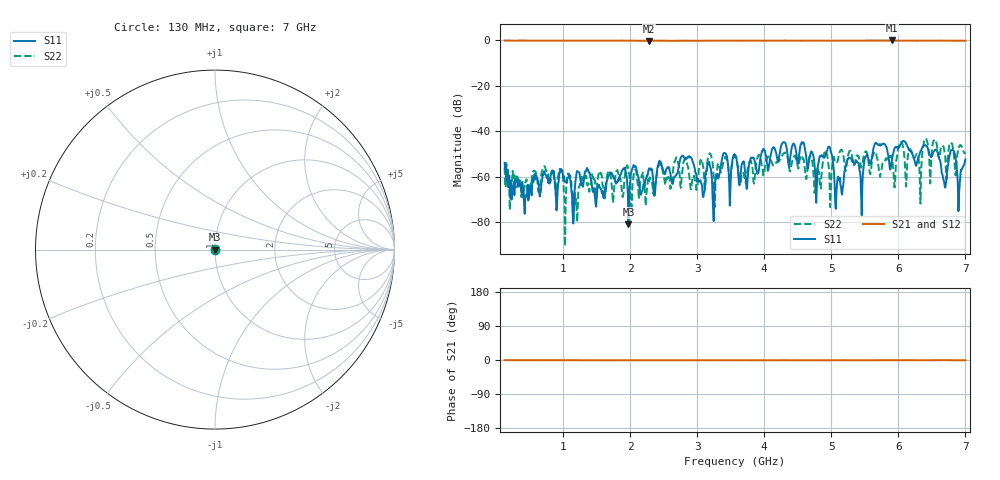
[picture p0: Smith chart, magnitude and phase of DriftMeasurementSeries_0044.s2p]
# Hz S RI R 50.000000
! Metas.Vna.Tools, 2.8.8664.20301
! Metas.Vna.Data, 2.8.8664.20285
! Created: UTC 2024.02.11 10:08:21
! FREQ  re:S1,1  im:S1,1  re:S2,1  im:S2,1  re:S1,2  im:S1,2  re:S2,2  im:S2,2
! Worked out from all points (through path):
!   801 points, 130 MHz to 7 GHz, reference 50 ohm
!   highest |S21| = -0.04 dB at 5.909 GHz (marker M1); lowest = -0.2 dB at 2.285 GHz (marker M2)
!   lowest |S11| = -80.9 dB at 1.976 GHz (marker M3), VSWR 1.00, Z = 50 - j0.00665 ohm
!   |S11| at or under -10 dB: start of sweep to end of sweep
!   |S22| runs from -90.5 to -43.1 dB; largest |S21 - S12| = 0.025
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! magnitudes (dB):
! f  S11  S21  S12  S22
! 130 MHz  -53.8  -0.1  0.0  -56.0
! 456.3 MHz  -67.6  -0.1  0.0  -61.0
! 963 MHz  -57.0  -0.1  0.0  -56.5
! 1.186 GHz  -61.9  -0.1  0.0  -71.7
! 1.281 GHz  -63.2  -0.1  0.0  -59.2
! 1.976 GHz  -80.9  -0.1  0.0  -57.5
! 2.285 GHz  -56.2  -0.2  0.0  -62.5
! 2.423 GHz  -54.3  -0.1  0.0  -55.5
! 2.895 GHz  -51.2  -0.2  0.0  -63.1
! 3.084 GHz  -68.4  -0.2  0.0  -54.6
! 3.187 GHz  -54.6  -0.1  0.0  -49.6
! 3.256 GHz  -67.0  -0.1  0.0  -67.0
! 3.565 GHz  -50.3  -0.1  0.0  -50.7
! 4.716 GHz  -49.3  -0.1  0.0  -53.1
! 4.973 GHz  -46.8  -0.2  0.0  -60.2
! 5.085 GHz  -63.2  -0.1  0.0  -53.5
! 5.265 GHz  -51.5  -0.1  0.0  -49.1
! 5.446 GHz  -67.8  -0.1  0.0  -55.9
! 5.669 GHz  -45.0  -0.1  0.0  -49.9
! 5.858 GHz  -52.0  -0.1  0.0  -51.4
! 5.909 GHz  -52.2  0.0  0.0  -52.1
! 7 GHz  -52.3  -0.1  0.0  -50.0
